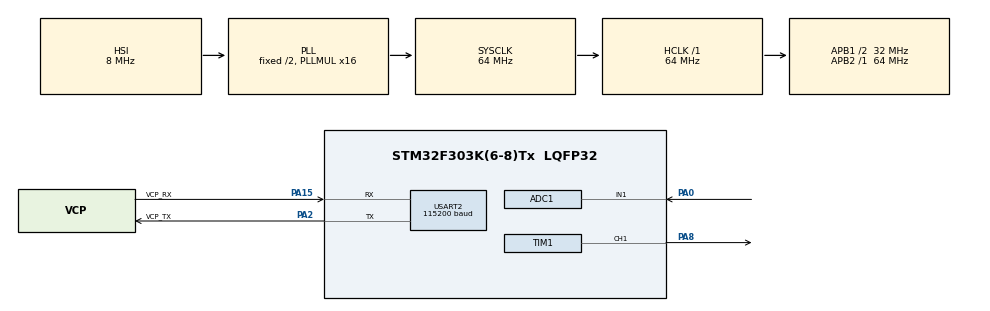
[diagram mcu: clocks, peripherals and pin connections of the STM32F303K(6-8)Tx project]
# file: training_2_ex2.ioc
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ADC1.Channel-0\#ChannelRegularConversion=ADC_CHANNEL_1
ADC1.Channel-1\#ChannelRegularConversion=ADC_CHANNEL_1
ADC1.ClockPrescaler=ADC_CLOCK_SYNC_PCLK_DIV1
ADC1.DMAContinuousRequests=ENABLE
ADC1.ExternalTrigConv=ADC_EXTERNALTRIGCONV_T1_TRGO
ADC1.NbrOfConversion=2
ADC1.NbrOfConversionFlag=1
ADC1.Offset-0\#ChannelRegularConversion=0
ADC1.Offset-1\#ChannelRegularConversion=0
ADC1.OffsetNumber-0\#ChannelRegularConversion=ADC_OFFSET_NONE
ADC1.OffsetNumber-1\#ChannelRegularConversion=ADC_OFFSET_NONE
ADC1.Rank-0\#ChannelRegularConversion=1
ADC1.Rank-1\#ChannelRegularConversion=2
ADC1.SamplingTime-0\#ChannelRegularConversion=ADC_SAMPLETIME_1CYCLE_5
ADC1.SamplingTime-1\#ChannelRegularConversion=ADC_SAMPLETIME_1CYCLE_5
ADC1.SamplingTimeOPAMP-0\#ChannelRegularConversion=ADC_SAMPLETIME_61CYCLES_5
ADC1.SamplingTimeOPAMP-1\#ChannelRegularConversion=ADC_SAMPLETIME_61CYCLES_5
ADC1.SubFamily=STM32F303x8
ADC1.master=1
Dma.ADC1.0.Direction=DMA_PERIPH_TO_MEMORY
Dma.ADC1.0.Instance=DMA1_Channel1
Dma.ADC1.0.MemDataAlignment=DMA_MDATAALIGN_WORD
Dma.ADC1.0.MemInc=DMA_MINC_ENABLE
Dma.ADC1.0.Mode=DMA_CIRCULAR
Dma.ADC1.0.PeriphDataAlignment=DMA_PDATAALIGN_WORD
Dma.ADC1.0.PeriphInc=DMA_PINC_DISABLE
Dma.ADC1.0.Priority=DMA_PRIORITY_LOW
Dma.Request0=ADC1
Mcu.Family=STM32F3
Mcu.Name=STM32F303K(6-8)Tx
Mcu.Package=LQFP32
NVIC.DMA1_Channel1_IRQn=true\:0\:0\:false\:false\:true\:false\:true\:true
NVIC.PriorityGroup=NVIC_PRIORITYGROUP_4
PA0.Mode=IN1-Single-Ended
PA0.Signal=ADC1_IN1
PA13.GPIO_Label=SWDIO
PA13.Mode=Serial_Wire
PA13.Signal=SYS_JTMS-SWDIO
PA14.GPIO_Label=SWCLK
PA14.Mode=Serial_Wire
PA14.Signal=SYS_JTCK-SWCLK
PA15.GPIO_Label=VCP_RX
PA15.Mode=Asynchronous
PA15.Signal=USART2_RX
PA2.GPIO_Label=VCP_TX
PA2.Mode=Asynchronous
PA2.Signal=USART2_TX
PA8.Signal=S_TIM1_CH1
PF0\ /\ OSC_IN.GPIO_Label=MCO
PF0\ /\ OSC_IN.Mode=HSE-External-Clock-Source
PF0\ /\ OSC_IN.Signal=RCC_OSC_IN
ProjectManager.HeapSize=0x200
ProjectManager.StackSize=0x400
ProjectManager.TargetToolchain=STM32CubeIDE
RCC.AHBFreq_Value=64000000
RCC.APB1CLKDivider=RCC_HCLK_DIV2
RCC.APB1Freq_Value=32000000
RCC.APB1TimFreq_Value=64000000
RCC.APB2Freq_Value=64000000
RCC.APB2TimFreq_Value=64000000
RCC.CortexFreq_Value=64000000
RCC.HCLKFreq_Value=64000000
RCC.HSE_VALUE=8000000
RCC.HSI_VALUE=8000000
RCC.PLLMUL=RCC_PLL_MUL16
RCC.SYSCLKFreq_VALUE=64000000
RCC.SYSCLKSourceVirtual=RCC_SYSCLKSOURCE_PLLCLK
SH.S_TIM1_CH1.0=TIM1_CH1,PWM Generation1 CH1
TIM1.Channel-PWM\ Generation1\ CH1=TIM_CHANNEL_1
TIM1.CounterMode=TIM_COUNTERMODE_CENTERALIGNED1
TIM1.RepetitionCounter=1
TIM1.TIM_MasterOutputTrigger=TIM_TRGO_UPDATE
USART2.BaudRate=115200
USART2.VirtualMode-Asynchronous=VM_ASYNC
VP_TIM1_VS_ClockSourceINT.Mode=Internal
board=NUCLEO-F303K8

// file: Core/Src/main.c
/* USER CODE BEGIN Header */
/**
  ******************************************************************************
  * @file           : main.c
  * @brief          : Main program body
  ******************************************************************************
  * @attention
  *
  * Copyright (c) 2023 STMicroelectronics.
  * All rights reserved.
  *
  * This software is licensed under terms that can be found in the LICENSE file
  * in the root directory of this software component.
  * If no LICENSE file comes with this software, it is provided AS-IS.
  *
  ******************************************************************************
  */
/* USER CODE END Header */
#include "main.h"

/* USER CODE BEGIN Includes */
#include "stdlib.h"
#include "string.h"
#include "stdio.h"
/* USER CODE END Includes */

ADC_HandleTypeDef hadc1;
DMA_HandleTypeDef hdma_adc1;

TIM_HandleTypeDef htim1;

UART_HandleTypeDef huart2;

/* USER CODE BEGIN PV */
uint8_t TxStartMessage[] = "\r\n***** Example 2 *****\r\n";
uint32_t ADC_Buff[1];
uint32_t adc_val_1;
float meas_volt_1 = 0.0f;

uint32_t PWM_Freq = 2000;
float PWM_DutyC = 50;
uint32_t PWM_Period;
uint32_t PWM_PulseWidth;
/* USER CODE END PV */

void SystemClock_Config(void);
static void MX_GPIO_Init(void);
static void MX_DMA_Init(void);
static void MX_USART2_UART_Init(void);
static void MX_ADC1_Init(void);
static void MX_TIM1_Init(void);

/* USER CODE BEGIN 0 */
#ifdef __GNUC__
	#define PUTCHAR_PROTOTYPE int __io_putchar(int ch)
#else
	#define PUTCHAR_PROTOTYPE int fputc(int ch, FILE *f)
#endif

PUTCHAR_PROTOTYPE
{
	HAL_UART_Transmit(&huart2, (uint8_t *)&ch, 1, 0xFFF);
	return ch;
}
/* USER CODE END 0 */

int main(void)
{

  /* MCU Configuration--------------------------------------------------------*/

  /* Reset of all peripherals, Initializes the Flash interface and the Systick. */
  HAL_Init();

  /* Configure the system clock */
  SystemClock_Config();

  /* Initialize all configured peripherals */
  MX_GPIO_Init();
  MX_DMA_Init();
  MX_USART2_UART_Init();
  MX_ADC1_Init();
  MX_TIM1_Init();
  /* USER CODE BEGIN 2 */
  printf("%s", TxStartMessage);

  PWM_Period = 64000000/(2*PWM_Freq)-1;
  PWM_PulseWidth = (int)((PWM_Period*PWM_DutyC)/100);

  __HAL_TIM_SET_AUTORELOAD(&htim1, PWM_Period);
  __HAL_TIM_SET_COMPARE(&htim1, TIM_CHANNEL_1, PWM_PulseWidth);
  HAL_TIM_PWM_Start(&htim1, TIM_CHANNEL_1);

  HAL_ADCEx_Calibration_Start(&hadc1, ADC_SINGLE_ENDED);
  HAL_ADC_Start_DMA(&hadc1, (uint32_t*)ADC_Buff, 1);
  /* USER CODE END 2 */

  /* Infinite loop */
  /* USER CODE BEGIN WHILE */
  while (1)
  {
	  PWM_DutyC = meas_volt_1*111.11f;
	  PWM_PulseWidth = (int)((PWM_Period*PWM_DutyC)/100);
	  __HAL_TIM_SET_COMPARE(&htim1, TIM_CHANNEL_1, PWM_PulseWidth);
	  printf("ADC Voltage: %.2f V - Duty cycle %d\r\n", meas_volt_1, PWM_DutyC);
	  HAL_Delay(100);
    /* USER CODE END WHILE */

  }
}

void SystemClock_Config(void)
{
  RCC_OscInitTypeDef RCC_OscInitStruct = {0};
  RCC_ClkInitTypeDef RCC_ClkInitStruct = {0};
  RCC_PeriphCLKInitTypeDef PeriphClkInit = {0};

  /** Initializes the RCC Oscillators according to the specified parameters
  * in the RCC_OscInitTypeDef structure.
  */
  RCC_OscInitStruct.OscillatorType = RCC_OSCILLATORTYPE_HSI;
  RCC_OscInitStruct.HSIState = RCC_HSI_ON;
  RCC_OscInitStruct.HSICalibrationValue = RCC_HSICALIBRATION_DEFAULT;
  RCC_OscInitStruct.PLL.PLLState = RCC_PLL_ON;
  RCC_OscInitStruct.PLL.PLLSource = RCC_PLLSOURCE_HSI;
  RCC_OscInitStruct.PLL.PLLMUL = RCC_PLL_MUL16;
  if (HAL_RCC_OscConfig(&RCC_OscInitStruct) != HAL_OK)
  {
    Error_Handler();
  }

  /** Initializes the CPU, AHB and APB buses clocks
  */
  RCC_ClkInitStruct.ClockType = RCC_CLOCKTYPE_HCLK|RCC_CLOCKTYPE_SYSCLK
                              |RCC_CLOCKTYPE_PCLK1|RCC_CLOCKTYPE_PCLK2;
  RCC_ClkInitStruct.SYSCLKSource = RCC_SYSCLKSOURCE_PLLCLK;
  RCC_ClkInitStruct.AHBCLKDivider = RCC_SYSCLK_DIV1;
  RCC_ClkInitStruct.APB1CLKDivider = RCC_HCLK_DIV2;
  RCC_ClkInitStruct.APB2CLKDivider = RCC_HCLK_DIV1;

  if (HAL_RCC_ClockConfig(&RCC_ClkInitStruct, FLASH_LATENCY_2) != HAL_OK)
  {
    Error_Handler();
  }
  PeriphClkInit.PeriphClockSelection = RCC_PERIPHCLK_TIM1;
  PeriphClkInit.Tim1ClockSelection = RCC_TIM1CLK_HCLK;
  if (HAL_RCCEx_PeriphCLKConfig(&PeriphClkInit) != HAL_OK)
  {
    Error_Handler();
  }
}

static void MX_ADC1_Init(void)
{

  ADC_MultiModeTypeDef multimode = {0};
  ADC_ChannelConfTypeDef sConfig = {0};

  /** Common config
  */
  hadc1.Instance = ADC1;
  hadc1.Init.ClockPrescaler = ADC_CLOCK_SYNC_PCLK_DIV1;
  hadc1.Init.Resolution = ADC_RESOLUTION_12B;
  hadc1.Init.ScanConvMode = ADC_SCAN_ENABLE;
  hadc1.Init.ContinuousConvMode = DISABLE;
  hadc1.Init.DiscontinuousConvMode = DISABLE;
  hadc1.Init.ExternalTrigConvEdge = ADC_EXTERNALTRIGCONVEDGE_RISING;
  hadc1.Init.ExternalTrigConv = ADC_EXTERNALTRIGCONV_T1_TRGO;
  hadc1.Init.DataAlign = ADC_DATAALIGN_RIGHT;
  hadc1.Init.NbrOfConversion = 2;
  hadc1.Init.DMAContinuousRequests = ENABLE;
  hadc1.Init.EOCSelection = ADC_EOC_SINGLE_CONV;
  hadc1.Init.LowPowerAutoWait = DISABLE;
  hadc1.Init.Overrun = ADC_OVR_DATA_OVERWRITTEN;
  if (HAL_ADC_Init(&hadc1) != HAL_OK)
  {
    Error_Handler();
  }

  /** Configure the ADC multi-mode
  */
  multimode.Mode = ADC_MODE_INDEPENDENT;
  if (HAL_ADCEx_MultiModeConfigChannel(&hadc1, &multimode) != HAL_OK)
  {
    Error_Handler();
  }

  /** Configure Regular Channel
  */
  sConfig.Channel = ADC_CHANNEL_1;
  sConfig.Rank = ADC_REGULAR_RANK_1;
  sConfig.SingleDiff = ADC_SINGLE_ENDED;
  sConfig.SamplingTime = ADC_SAMPLETIME_1CYCLE_5;
  sConfig.OffsetNumber = ADC_OFFSET_NONE;
  sConfig.Offset = 0;
  if (HAL_ADC_ConfigChannel(&hadc1, &sConfig) != HAL_OK)
  {
    Error_Handler();
  }

  /** Configure Regular Channel
  */
  sConfig.Rank = ADC_REGULAR_RANK_2;
  if (HAL_ADC_ConfigChannel(&hadc1, &sConfig) != HAL_OK)
  {
    Error_Handler();
  }

}

static void MX_TIM1_Init(void)
{

  TIM_ClockConfigTypeDef sClockSourceConfig = {0};
  TIM_MasterConfigTypeDef sMasterConfig = {0};
  TIM_OC_InitTypeDef sConfigOC = {0};
  TIM_BreakDeadTimeConfigTypeDef sBreakDeadTimeConfig = {0};

  htim1.Instance = TIM1;
  htim1.Init.Prescaler = 0;
  htim1.Init.CounterMode = TIM_COUNTERMODE_CENTERALIGNED1;
  htim1.Init.Period = 65535;
  htim1.Init.ClockDivision = TIM_CLOCKDIVISION_DIV1;
  htim1.Init.RepetitionCounter = 1;
  htim1.Init.AutoReloadPreload = TIM_AUTORELOAD_PRELOAD_DISABLE;
  if (HAL_TIM_Base_Init(&htim1) != HAL_OK)
  {
    Error_Handler();
  }
  sClockSourceConfig.ClockSource = TIM_CLOCKSOURCE_INTERNAL;
  if (HAL_TIM_ConfigClockSource(&htim1, &sClockSourceConfig) != HAL_OK)
  {
    Error_Handler();
  }
  if (HAL_TIM_PWM_Init(&htim1) != HAL_OK)
  {
    Error_Handler();
  }
  sMasterConfig.MasterOutputTrigger = TIM_TRGO_UPDATE;
  sMasterConfig.MasterOutputTrigger2 = TIM_TRGO2_RESET;
  sMasterConfig.MasterSlaveMode = TIM_MASTERSLAVEMODE_DISABLE;
  if (HAL_TIMEx_MasterConfigSynchronization(&htim1, &sMasterConfig) != HAL_OK)
  {
    Error_Handler();
  }
  sConfigOC.OCMode = TIM_OCMODE_PWM1;
  sConfigOC.Pulse = 0;
  sConfigOC.OCPolarity = TIM_OCPOLARITY_HIGH;
  sConfigOC.OCNPolarity = TIM_OCNPOLARITY_HIGH;
  sConfigOC.OCFastMode = TIM_OCFAST_DISABLE;
  sConfigOC.OCIdleState = TIM_OCIDLESTATE_RESET;
  sConfigOC.OCNIdleState = TIM_OCNIDLESTATE_RESET;
  if (HAL_TIM_PWM_ConfigChannel(&htim1, &sConfigOC, TIM_CHANNEL_1) != HAL_OK)
  {
    Error_Handler();
  }
  sBreakDeadTimeConfig.OffStateRunMode = TIM_OSSR_DISABLE;
  sBreakDeadTimeConfig.OffStateIDLEMode = TIM_OSSI_DISABLE;
  sBreakDeadTimeConfig.LockLevel = TIM_LOCKLEVEL_OFF;
  sBreakDeadTimeConfig.DeadTime = 0;
  sBreakDeadTimeConfig.BreakState = TIM_BREAK_DISABLE;
  sBreakDeadTimeConfig.BreakPolarity = TIM_BREAKPOLARITY_HIGH;
  sBreakDeadTimeConfig.BreakFilter = 0;
  sBreakDeadTimeConfig.Break2State = TIM_BREAK2_DISABLE;
  sBreakDeadTimeConfig.Break2Polarity = TIM_BREAK2POLARITY_HIGH;
  sBreakDeadTimeConfig.Break2Filter = 0;
  sBreakDeadTimeConfig.AutomaticOutput = TIM_AUTOMATICOUTPUT_DISABLE;
  if (HAL_TIMEx_ConfigBreakDeadTime(&htim1, &sBreakDeadTimeConfig) != HAL_OK)
  {
    Error_Handler();
  }
  HAL_TIM_MspPostInit(&htim1);

}

static void MX_USART2_UART_Init(void)
{

  huart2.Instance = USART2;
  huart2.Init.BaudRate = 115200;
  huart2.Init.WordLength = UART_WORDLENGTH_8B;
  huart2.Init.StopBits = UART_STOPBITS_1;
  huart2.Init.Parity = UART_PARITY_NONE;
  huart2.Init.Mode = UART_MODE_TX_RX;
  huart2.Init.HwFlowCtl = UART_HWCONTROL_NONE;
  huart2.Init.OverSampling = UART_OVERSAMPLING_16;
  huart2.Init.OneBitSampling = UART_ONE_BIT_SAMPLE_DISABLE;
  huart2.AdvancedInit.AdvFeatureInit = UART_ADVFEATURE_NO_INIT;
  if (HAL_UART_Init(&huart2) != HAL_OK)
  {
    Error_Handler();
  }

}

static void MX_DMA_Init(void)
{

  /* DMA controller clock enable */
  __HAL_RCC_DMA1_CLK_ENABLE();

  /* DMA interrupt init */
  /* DMA1_Channel1_IRQn interrupt configuration */
  HAL_NVIC_SetPriority(DMA1_Channel1_IRQn, 0, 0);
  HAL_NVIC_EnableIRQ(DMA1_Channel1_IRQn);

}

static void MX_GPIO_Init(void)
{

  /* GPIO Ports Clock Enable */
  __HAL_RCC_GPIOF_CLK_ENABLE();
  __HAL_RCC_GPIOA_CLK_ENABLE();

}

/* USER CODE BEGIN 4 */
void HAL_ADC_ConvCpltCallback(ADC_HandleTypeDef* hadc){
	UNUSED(hadc);
		adc_val_1 = ADC_Buff[0];
		meas_volt_1 = (((float)adc_val_1)/4095.0f)*3.3f;

}
/* USER CODE END 4 */

void Error_Handler(void)
{
  __disable_irq();
  while (1)
  {
  }
}
